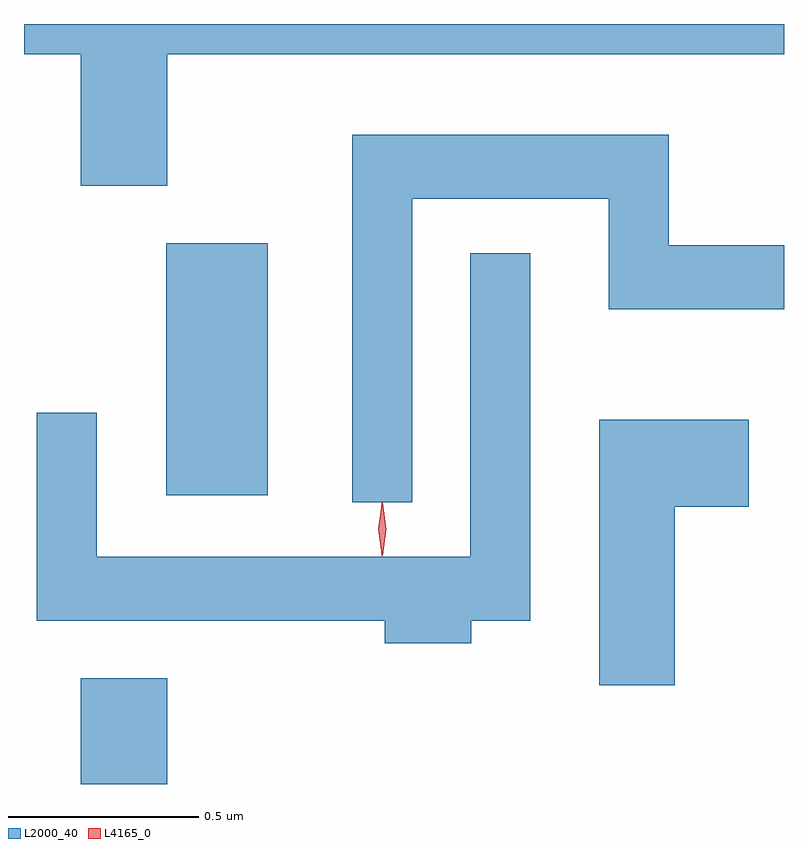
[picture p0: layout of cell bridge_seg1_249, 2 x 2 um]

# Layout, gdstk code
import gdstk
lib = gdstk.Library(unit=1e-6, precision=1e-09)
def R(c, l, rs):  # rectangles x0, y0, x1, y1
    for r in rs: c.add(gdstk.rectangle(r[:2], r[2:], *l))
def P(c, l, *ps):  # polygons
    for p in ps: c.add(gdstk.Polygon(p, *l))
L2000_40 = (2000, 40)
L4165_0 = (4165, 0)

bridge_seg1_249 = lib.new_cell('bridge_seg1_249')
R(bridge_seg1_249, L2000_40, [(828.501,877.676,828.729,877.954), (828.726,878.436,828.994,879.099)])
P(bridge_seg1_249, L2000_40, [(828.729,879.596),(830.352,879.596),(830.352,879.676),(828.352,879.676),(828.352,879.596),(828.501,879.596),(828.501,879.251),(828.729,879.251)],
  [(829.374,879.216),(829.891,879.216),(829.891,878.926),(830.352,878.926),(830.352,879.094),(830.049,879.094),(830.049,879.384),(829.216,879.384),(829.216,878.418),(829.374,878.418)],
  [(829.529,878.106),(829.684,878.106),(829.684,879.073),(829.526,879.073),(829.526,878.274),(828.544,878.274),(828.544,878.653),(828.386,878.653),(828.386,878.106),(829.301,878.106),(829.301,878.046),(829.529,878.046)],
  [(830.064,878.406),(830.259,878.406),(830.259,878.634),(829.866,878.634),(829.866,877.936),(830.064,877.936)])
P(bridge_seg1_249, L4165_0, [(829.294,878.277),(829.285,878.346),(829.294,878.416),(829.295,878.416),(829.296,878.416),(829.305,878.346),(829.296,878.277),(829.295,878.277)],
  [(829.294,878.279),(829.294,878.28),(829.284,878.346),(829.294,878.412),(829.294,878.413),(829.295,878.412),(829.304,878.346),(829.295,878.28)])

lib.write_gds('bridge_seg1_249.gds')
